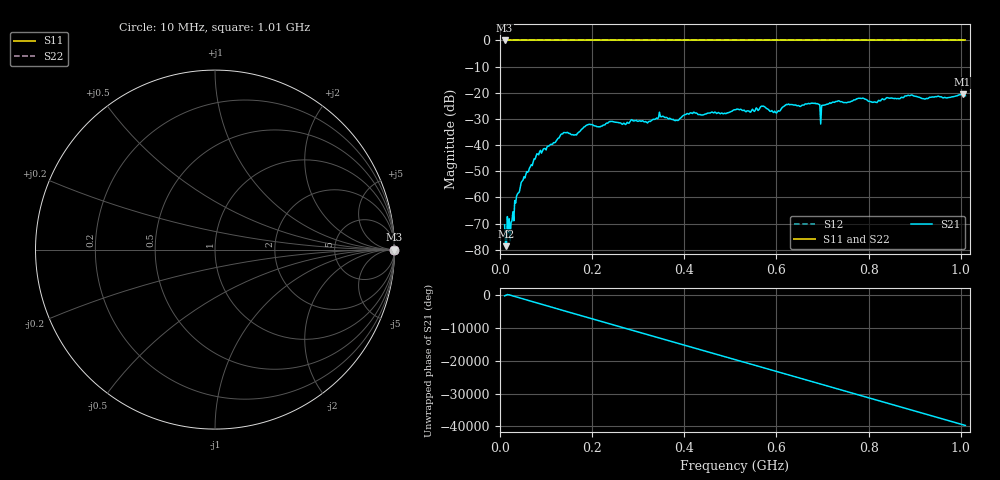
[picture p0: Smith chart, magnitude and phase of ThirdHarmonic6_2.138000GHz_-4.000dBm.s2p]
! 8/17/2025 1:32:21 AM
! C:\ANRITSUVNA\TEMP\TEMP.S2P
! CHANNEL.1
! TR.MEASUREMENT
! RAW.DATA
! RF.CORRECTION.OFF
! AVERAGING.OFF
! IF.BANDWIDTH: 5KHZ
! SWEEPTYPE:  FREQ.SWEEP(Linear)
! Reference Plane Port Info
! PORT:  PORT1  PORT2
! DISTANCE:  0  m  0  m
! TIME:  0  s  0  s
! PHASE.OFFSET:  0  deg.  0  deg.
! LOSS:  0  dB  0  dB
! REF.LOSS:  0  dB  0  dB
! REF.FREQ:  0  Hz  0  Hz
! Power Info
! POWER:  -20  dBm  -20  dBm
! EFF.POWER:  -20  dBm  -20  dBm
! SOURCE.ATTEN:  0  dB  0  dB
! TEST.ATTEN:  0  dB  0  dB
# GHZ S RI R 50.0
! FREQ.GHZ  S11RE  S11IM  S21RE  S21IM  S12RE  S12IM  S22RE  S22IM
!; PortSelection: Port_12
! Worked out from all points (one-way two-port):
!   501 points, 10 MHz to 1.01 GHz, reference 50 ohm
!   highest |S21| = -20.55 dB at 1.004 GHz (marker M1); lowest = -78.6 dB at 14 MHz (marker M2)
!   lowest |S11| = 0.0 dB at 10 MHz (marker M3)
!   |S11| at or under -10 dB: nowhere
!   |S22| runs from 0.0 to 0.0 dB; largest |S21 - S12| = 1.1
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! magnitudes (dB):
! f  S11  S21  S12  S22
! 10 MHz  0.0  -70.5  0.0  0.0
! 14 MHz  0.0  -78.6  0.0  0.0
! 26 MHz  0.0  -68.9  0.0  0.0
! 36 MHz  0.0  -59.5  0.0  0.0
! 48 MHz  0.0  -53.7  0.0  0.0
! 78 MHz  0.0  -44.4  0.0  0.0
! 136 MHz  0.0  -35.7  0.0  0.0
! 162 MHz  0.0  -36.1  0.0  0.0
! 178 MHz  0.0  -33.8  0.0  0.0
! 344 MHz  0.0  -29.5  0.0  0.0
! 382 MHz  0.0  -30.5  0.0  0.0
! 416 MHz  0.0  -27.8  0.0  0.0
! 510 MHz  0.0  -26.5  0.0  0.0
! 570 MHz  0.0  -25.1  0.0  0.0
! 598 MHz  0.0  -27.5  0.0  0.0
! 622 MHz  0.0  -24.4  0.0  0.0
! 678 MHz  0.0  -24.0  0.0  0.0
! 700 MHz  0.0  -24.8  0.0  0.0
! 732 MHz  0.0  -23.3  0.0  0.0
! 844 MHz  0.0  -22.0  0.0  0.0
! 1.004 GHz  0.0  -20.5  0.0  0.0
! 1.01 GHz  0.0  -21.1  0.0  0.0
